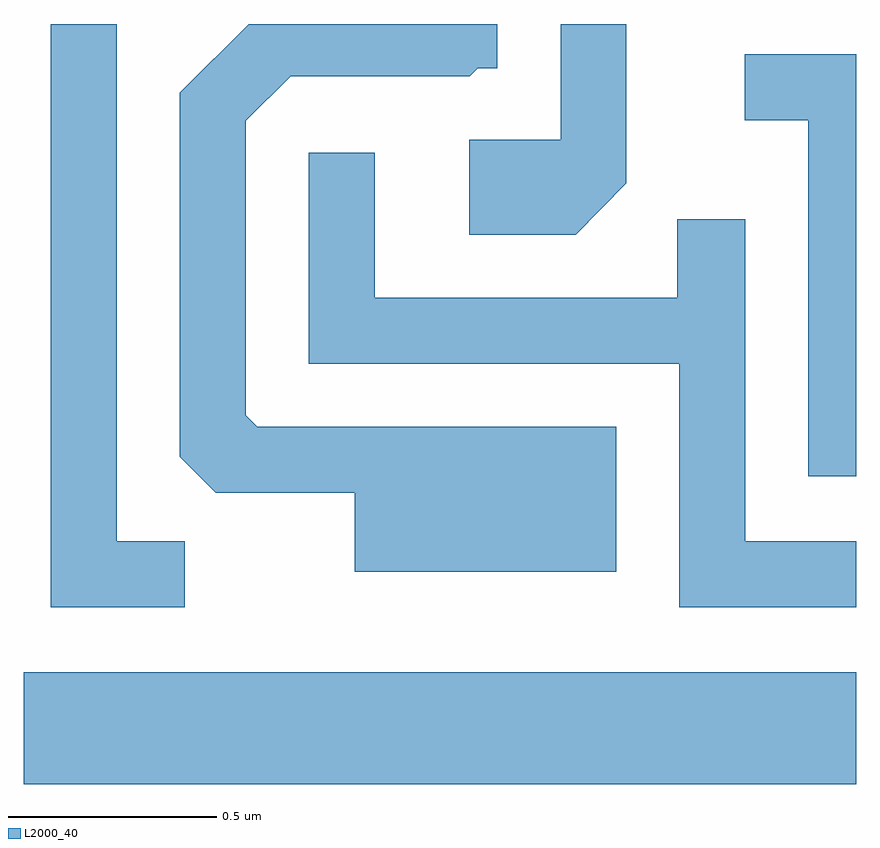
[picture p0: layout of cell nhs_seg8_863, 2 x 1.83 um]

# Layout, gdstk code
import gdstk
lib = gdstk.Library(unit=1e-6, precision=1e-09)
def R(c, l, rs):  # rectangles x0, y0, x1, y1
    for r in rs: c.add(gdstk.rectangle(r[:2], r[2:], *l))
def P(c, l, *ps):  # polygons
    for p in ps: c.add(gdstk.Polygon(p, *l))
L2000_40 = (2000, 40)

nhs_seg8_863 = lib.new_cell('nhs_seg8_863')
R(nhs_seg8_863, L2000_40, [(191.611,1847.516,193.611,1847.784)])
P(nhs_seg8_863, L2000_40, [(191.998,1848.099),(191.834,1848.099),(191.834,1849.342),(191.676,1849.342),(191.676,1847.941),(191.998,1847.941)],
  [(193.059,1848.959),(193.059,1849.342),(192.901,1849.342),(192.901,1849.064),(192.681,1849.064),(192.681,1848.836),(192.937,1848.836)],
  [(193.034,1848.374),(192.172,1848.374),(192.144,1848.402),(192.144,1849.109),(192.252,1849.216),(192.682,1849.216),(192.702,1849.236),(192.749,1849.236),(192.749,1849.342),(192.152,1849.342),(191.986,1849.177),(191.986,1848.302),(192.072,1848.216),(192.406,1848.216),(192.406,1848.026),(193.034,1848.026)],
  [(193.611,1849.269),(193.343,1849.269),(193.343,1849.111),(193.496,1849.111),(193.496,1848.256),(193.611,1848.256)],
  [(193.611,1848.099),(193.344,1848.099),(193.344,1848.873),(193.181,1848.873),(193.181,1848.684),(192.454,1848.684),(192.454,1849.033),(192.296,1849.033),(192.296,1848.526),(193.186,1848.526),(193.186,1847.941),(193.611,1847.941)])

lib.write_gds('nhs_seg8_863.gds')
